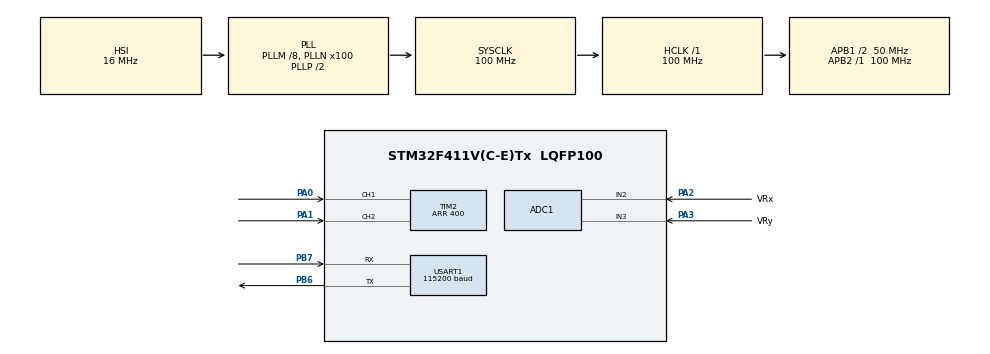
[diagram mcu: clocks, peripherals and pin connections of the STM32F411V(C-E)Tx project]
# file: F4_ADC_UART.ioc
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ADC1.Channel-0\#ChannelRegularConversion=ADC_CHANNEL_2
ADC1.Channel-1\#ChannelRegularConversion=ADC_CHANNEL_3
ADC1.ClockPrescaler=ADC_CLOCK_SYNC_PCLK_DIV8
ADC1.ContinuousConvMode=ENABLE
ADC1.DMAContinuousRequests=ENABLE
ADC1.NbrOfConversion=2
ADC1.NbrOfConversionFlag=1
ADC1.Rank-0\#ChannelRegularConversion=1
ADC1.Rank-1\#ChannelRegularConversion=2
ADC1.SamplingTime-0\#ChannelRegularConversion=ADC_SAMPLETIME_480CYCLES
ADC1.SamplingTime-1\#ChannelRegularConversion=ADC_SAMPLETIME_480CYCLES
ADC1.ScanConvMode=ENABLE
ADC1.master=1
Dma.ADC1.0.Direction=DMA_PERIPH_TO_MEMORY
Dma.ADC1.0.FIFOMode=DMA_FIFOMODE_DISABLE
Dma.ADC1.0.Instance=DMA2_Stream0
Dma.ADC1.0.MemDataAlignment=DMA_MDATAALIGN_HALFWORD
Dma.ADC1.0.MemInc=DMA_MINC_ENABLE
Dma.ADC1.0.Mode=DMA_CIRCULAR
Dma.ADC1.0.PeriphDataAlignment=DMA_PDATAALIGN_HALFWORD
Dma.ADC1.0.PeriphInc=DMA_PINC_DISABLE
Dma.ADC1.0.Priority=DMA_PRIORITY_LOW
Dma.Request0=ADC1
Dma.Request1=USART1_RX
Dma.Request2=USART1_TX
Dma.USART1_RX.1.Direction=DMA_PERIPH_TO_MEMORY
Dma.USART1_RX.1.FIFOMode=DMA_FIFOMODE_DISABLE
Dma.USART1_RX.1.Instance=DMA2_Stream2
Dma.USART1_RX.1.MemDataAlignment=DMA_MDATAALIGN_BYTE
Dma.USART1_RX.1.MemInc=DMA_MINC_ENABLE
Dma.USART1_RX.1.Mode=DMA_NORMAL
Dma.USART1_RX.1.PeriphDataAlignment=DMA_PDATAALIGN_BYTE
Dma.USART1_RX.1.PeriphInc=DMA_PINC_DISABLE
Dma.USART1_RX.1.Priority=DMA_PRIORITY_LOW
Dma.USART1_TX.2.Direction=DMA_MEMORY_TO_PERIPH
Dma.USART1_TX.2.FIFOMode=DMA_FIFOMODE_DISABLE
Dma.USART1_TX.2.Instance=DMA2_Stream7
Dma.USART1_TX.2.MemDataAlignment=DMA_MDATAALIGN_BYTE
Dma.USART1_TX.2.MemInc=DMA_MINC_ENABLE
Dma.USART1_TX.2.Mode=DMA_NORMAL
Dma.USART1_TX.2.PeriphDataAlignment=DMA_PDATAALIGN_BYTE
Dma.USART1_TX.2.PeriphInc=DMA_PINC_DISABLE
Dma.USART1_TX.2.Priority=DMA_PRIORITY_LOW
Mcu.Family=STM32F4
Mcu.Name=STM32F411V(C-E)Tx
Mcu.Package=LQFP100
NVIC.DMA2_Stream0_IRQn=true\:0\:0\:false\:false\:true\:true
NVIC.DMA2_Stream2_IRQn=true\:0\:0\:false\:false\:true\:true
NVIC.DMA2_Stream7_IRQn=true\:0\:0\:false\:false\:true\:true
NVIC.PriorityGroup=NVIC_PRIORITYGROUP_4
NVIC.USART1_IRQn=true\:0\:0\:false\:false\:true\:true
PA0-WKUP.Signal=S_TIM2_CH1_ETR
PA1.Signal=S_TIM2_CH2
PA2.GPIO_Label=VRx
PA2.Signal=ADCx_IN2
PA3.GPIO_Label=VRy
PA3.Signal=ADCx_IN3
PB6.Mode=Asynchronous
PB6.Signal=USART1_TX
PB7.Mode=Asynchronous
PB7.Signal=USART1_RX
PH0\ -\ OSC_IN.Mode=HSE-External-Oscillator
PH0\ -\ OSC_IN.Signal=RCC_OSC_IN
PH1\ -\ OSC_OUT.Mode=HSE-External-Oscillator
PH1\ -\ OSC_OUT.Signal=RCC_OSC_OUT
ProjectManager.HeapSize=0x200
ProjectManager.StackSize=0x400
ProjectManager.TargetToolchain=SW4STM32
RCC.48MHZClocksFreq_Value=50000000
RCC.AHBFreq_Value=100000000
RCC.APB1CLKDivider=RCC_HCLK_DIV2
RCC.APB1Freq_Value=50000000
RCC.APB1TimFreq_Value=100000000
RCC.APB2Freq_Value=100000000
RCC.APB2TimFreq_Value=100000000
RCC.CortexFreq_Value=100000000
RCC.HCLKFreq_Value=100000000
RCC.HSE_VALUE=8000000
RCC.HSI_VALUE=16000000
RCC.LSE_VALUE=32768
RCC.PLLM=8
RCC.PLLN=100
RCC.SYSCLKFreq_VALUE=100000000
RCC.SYSCLKSource=RCC_SYSCLKSOURCE_PLLCLK
RCC.VCOOutputFreq_Value=200000000
SH.ADCx_IN2.0=ADC1_IN2,IN2
SH.ADCx_IN3.0=ADC1_IN3,IN3
SH.S_TIM2_CH1_ETR.0=TIM2_CH1,Encoder_Interface
SH.S_TIM2_CH2.0=TIM2_CH2,Encoder_Interface
TIM2.EncoderMode=TIM_ENCODERMODE_TI12
TIM2.IC1Filter=15
TIM2.IC2Filter=15
TIM2.Period=400
USART1.BaudRate=115200
USART1.VirtualMode=VM_ASYNC
VP_CRC_VS_CRC.Mode=CRC_Activate
board=F4_ADC_UART

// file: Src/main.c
/**
  ******************************************************************************
  * File Name          : main.c
  * Description        : Main program body
  ******************************************************************************
  ** This notice applies to any and all portions of this file
  * that are not between comment pairs USER CODE BEGIN and
  * USER CODE END. Other portions of this file, whether
  * inserted by the user or by software development tools
  * are owned by their respective copyright owners.
  *
  * COPYRIGHT(c) 2017 STMicroelectronics
  *
  * Redistribution and use in source and binary forms, with or without modification,
  * are permitted provided that the following conditions are met:
  *   1. Redistributions of source code must retain the above copyright notice,
  *      this list of conditions and the following disclaimer.
  *   2. Redistributions in binary form must reproduce the above copyright notice,
  *      this list of conditions and the following disclaimer in the documentation
  *      and/or other materials provided with the distribution.
  *   3. Neither the name of STMicroelectronics nor the names of its contributors
  *      may be used to endorse or promote products derived from this software
  *      without specific prior written permission.
  *
  * THIS SOFTWARE IS PROVIDED BY THE COPYRIGHT HOLDERS AND CONTRIBUTORS "AS IS"
  * AND ANY EXPRESS OR IMPLIED WARRANTIES, INCLUDING, BUT NOT LIMITED TO, THE
  * IMPLIED WARRANTIES OF MERCHANTABILITY AND FITNESS FOR A PARTICULAR PURPOSE ARE
  * DISCLAIMED. IN NO EVENT SHALL THE COPYRIGHT HOLDER OR CONTRIBUTORS BE LIABLE
  * FOR ANY DIRECT, INDIRECT, INCIDENTAL, SPECIAL, EXEMPLARY, OR CONSEQUENTIAL
  * DAMAGES (INCLUDING, BUT NOT LIMITED TO, PROCUREMENT OF SUBSTITUTE GOODS OR
  * SERVICES; LOSS OF USE, DATA, OR PROFITS; OR BUSINESS INTERRUPTION) HOWEVER
  * CAUSED AND ON ANY THEORY OF LIABILITY, WHETHER IN CONTRACT, STRICT LIABILITY,
  * OR TORT (INCLUDING NEGLIGENCE OR OTHERWISE) ARISING IN ANY WAY OUT OF THE USE
  * OF THIS SOFTWARE, EVEN IF ADVISED OF THE POSSIBILITY OF SUCH DAMAGE.
  *
  ******************************************************************************
  */
#include "main.h"
#include "stm32f4xx_hal.h"

/* USER CODE BEGIN Includes */
#include <string.h>
/* USER CODE END Includes */

ADC_HandleTypeDef hadc1;
DMA_HandleTypeDef hdma_adc1;

CRC_HandleTypeDef hcrc;

TIM_HandleTypeDef htim2;

UART_HandleTypeDef huart1;
DMA_HandleTypeDef hdma_usart1_rx;
DMA_HandleTypeDef hdma_usart1_tx;

/* USER CODE BEGIN PV */
/* Private variables ---------------------------------------------------------*/
uint16_t joystick[2];
volatile int16_t pulse_count;
uint8_t rx_data, tx_data[30];

uint32_t a32;
uint16_t a16;
uint8_t a8;
/* USER CODE END PV */

void SystemClock_Config(void);
static void MX_GPIO_Init(void);
static void MX_DMA_Init(void);
static void MX_ADC1_Init(void);
static void MX_USART1_UART_Init(void);
static void MX_TIM2_Init(void);
static void MX_CRC_Init(void);

/* USER CODE BEGIN PFP */
/* Private function prototypes -----------------------------------------------*/
void HAL_UART_RxCpltCallback(UART_HandleTypeDef *huart) {
	if (rx_data == '#') {
		pulse_count = TIM2->CNT/2;
		tx_data[0] = (uint8_t)(joystick[0]);
		tx_data[1] = (uint8_t)(joystick[0]>>8);
		tx_data[2] = (uint8_t)(joystick[1]);
		tx_data[3] = (uint8_t)(joystick[1]>>8);
		tx_data[4] = (uint8_t)(pulse_count);
		tx_data[5] = (uint8_t)(pulse_count>>8);
		HAL_UART_Transmit_DMA(&huart1, tx_data, 6);
	}
	HAL_UART_Receive_DMA(&huart1, &rx_data, 1);
}
/* USER CODE END PFP */

int main(void)
{

  /* USER CODE BEGIN 1 */
//	uint8_t Received[10];

  /* USER CODE END 1 */

  /* MCU Configuration----------------------------------------------------------*/

  /* Reset of all peripherals, Initializes the Flash interface and the Systick. */
  HAL_Init();

  /* Configure the system clock */
  SystemClock_Config();

  /* Initialize all configured peripherals */
  MX_GPIO_Init();
  MX_DMA_Init();
  MX_ADC1_Init();
  MX_USART1_UART_Init();
  MX_TIM2_Init();
  MX_CRC_Init();

  /* USER CODE BEGIN 2 */
	HAL_ADC_Start_DMA(&hadc1, (uint32_t*) joystick, 2);
	HAL_TIM_Encoder_Start(&htim2, TIM_CHANNEL_ALL);
	HAL_UART_Receive_DMA(&huart1, &rx_data, 1);

	uint8_t tab[6] = {
					0x1a,
					0x2b,
					0x3c,
					0x4d,
					0x5e,
					0x6f,
					};

	a32 = HAL_CRC_Calculate(&hcrc, (uint32_t*)tab, 6);
	a16 = HAL_CRC_Calculate(&hcrc, (uint32_t*)tab, 6);
	a8 = HAL_CRC_Calculate(&hcrc, (uint32_t*)tab, 6);

  /* USER CODE END 2 */

  /* Infinite loop */
  /* USER CODE BEGIN WHILE */
	while (1) {
//		sprintf((char*) tx_data, "%d %d %d\n", joystick[0], joystick[1], pulse_count);

//	  HAL_UART_Receive_DMA(&huart1, Received, 10);
//	  HAL_Delay(100);
  /* USER CODE END WHILE */

	}

}

/** System Clock Configuration
*/
void SystemClock_Config(void)
{

  RCC_OscInitTypeDef RCC_OscInitStruct;
  RCC_ClkInitTypeDef RCC_ClkInitStruct;

    /**Configure the main internal regulator output voltage
    */
  __HAL_RCC_PWR_CLK_ENABLE();

  __HAL_PWR_VOLTAGESCALING_CONFIG(PWR_REGULATOR_VOLTAGE_SCALE1);

    /**Initializes the CPU, AHB and APB busses clocks
    */
  RCC_OscInitStruct.OscillatorType = RCC_OSCILLATORTYPE_HSI;
  RCC_OscInitStruct.HSIState = RCC_HSI_ON;
  RCC_OscInitStruct.HSICalibrationValue = 16;
  RCC_OscInitStruct.PLL.PLLState = RCC_PLL_ON;
  RCC_OscInitStruct.PLL.PLLSource = RCC_PLLSOURCE_HSI;
  RCC_OscInitStruct.PLL.PLLM = 8;
  RCC_OscInitStruct.PLL.PLLN = 100;
  RCC_OscInitStruct.PLL.PLLP = RCC_PLLP_DIV2;
  RCC_OscInitStruct.PLL.PLLQ = 4;
  if (HAL_RCC_OscConfig(&RCC_OscInitStruct) != HAL_OK)
  {
    _Error_Handler(__FILE__, __LINE__);
  }

    /**Initializes the CPU, AHB and APB busses clocks
    */
  RCC_ClkInitStruct.ClockType = RCC_CLOCKTYPE_HCLK|RCC_CLOCKTYPE_SYSCLK
                              |RCC_CLOCKTYPE_PCLK1|RCC_CLOCKTYPE_PCLK2;
  RCC_ClkInitStruct.SYSCLKSource = RCC_SYSCLKSOURCE_PLLCLK;
  RCC_ClkInitStruct.AHBCLKDivider = RCC_SYSCLK_DIV1;
  RCC_ClkInitStruct.APB1CLKDivider = RCC_HCLK_DIV2;
  RCC_ClkInitStruct.APB2CLKDivider = RCC_HCLK_DIV1;

  if (HAL_RCC_ClockConfig(&RCC_ClkInitStruct, FLASH_LATENCY_3) != HAL_OK)
  {
    _Error_Handler(__FILE__, __LINE__);
  }

    /**Configure the Systick interrupt time
    */
  HAL_SYSTICK_Config(HAL_RCC_GetHCLKFreq()/1000);

    /**Configure the Systick
    */
  HAL_SYSTICK_CLKSourceConfig(SYSTICK_CLKSOURCE_HCLK);

  /* SysTick_IRQn interrupt configuration */
  HAL_NVIC_SetPriority(SysTick_IRQn, 0, 0);
}

/* ADC1 init function */
static void MX_ADC1_Init(void)
{

  ADC_ChannelConfTypeDef sConfig;

    /**Configure the global features of the ADC (Clock, Resolution, Data Alignment and number of conversion)
    */
  hadc1.Instance = ADC1;
  hadc1.Init.ClockPrescaler = ADC_CLOCK_SYNC_PCLK_DIV8;
  hadc1.Init.Resolution = ADC_RESOLUTION_12B;
  hadc1.Init.ScanConvMode = ENABLE;
  hadc1.Init.ContinuousConvMode = ENABLE;
  hadc1.Init.DiscontinuousConvMode = DISABLE;
  hadc1.Init.ExternalTrigConvEdge = ADC_EXTERNALTRIGCONVEDGE_NONE;
  hadc1.Init.ExternalTrigConv = ADC_SOFTWARE_START;
  hadc1.Init.DataAlign = ADC_DATAALIGN_RIGHT;
  hadc1.Init.NbrOfConversion = 2;
  hadc1.Init.DMAContinuousRequests = ENABLE;
  hadc1.Init.EOCSelection = ADC_EOC_SINGLE_CONV;
  if (HAL_ADC_Init(&hadc1) != HAL_OK)
  {
    _Error_Handler(__FILE__, __LINE__);
  }

    /**Configure for the selected ADC regular channel its corresponding rank in the sequencer and its sample time.
    */
  sConfig.Channel = ADC_CHANNEL_2;
  sConfig.Rank = 1;
  sConfig.SamplingTime = ADC_SAMPLETIME_480CYCLES;
  if (HAL_ADC_ConfigChannel(&hadc1, &sConfig) != HAL_OK)
  {
    _Error_Handler(__FILE__, __LINE__);
  }

    /**Configure for the selected ADC regular channel its corresponding rank in the sequencer and its sample time.
    */
  sConfig.Channel = ADC_CHANNEL_3;
  sConfig.Rank = 2;
  if (HAL_ADC_ConfigChannel(&hadc1, &sConfig) != HAL_OK)
  {
    _Error_Handler(__FILE__, __LINE__);
  }

}

/* CRC init function */
static void MX_CRC_Init(void)
{
  hcrc.Instance = CRC;
  if (HAL_CRC_Init(&hcrc) != HAL_OK)
  {
    _Error_Handler(__FILE__, __LINE__);
  }

}

/* TIM2 init function */
static void MX_TIM2_Init(void)
{

  TIM_Encoder_InitTypeDef sConfig;
  TIM_MasterConfigTypeDef sMasterConfig;

  htim2.Instance = TIM2;
  htim2.Init.Prescaler = 0;
  htim2.Init.CounterMode = TIM_COUNTERMODE_UP;
  htim2.Init.Period = 400;
  htim2.Init.ClockDivision = TIM_CLOCKDIVISION_DIV1;
  sConfig.EncoderMode = TIM_ENCODERMODE_TI12;
  sConfig.IC1Polarity = TIM_ICPOLARITY_RISING;
  sConfig.IC1Selection = TIM_ICSELECTION_DIRECTTI;
  sConfig.IC1Prescaler = TIM_ICPSC_DIV1;
  sConfig.IC1Filter = 15;
  sConfig.IC2Polarity = TIM_ICPOLARITY_RISING;
  sConfig.IC2Selection = TIM_ICSELECTION_DIRECTTI;
  sConfig.IC2Prescaler = TIM_ICPSC_DIV1;
  sConfig.IC2Filter = 15;
  if (HAL_TIM_Encoder_Init(&htim2, &sConfig) != HAL_OK)
  {
    _Error_Handler(__FILE__, __LINE__);
  }

  sMasterConfig.MasterOutputTrigger = TIM_TRGO_RESET;
  sMasterConfig.MasterSlaveMode = TIM_MASTERSLAVEMODE_DISABLE;
  if (HAL_TIMEx_MasterConfigSynchronization(&htim2, &sMasterConfig) != HAL_OK)
  {
    _Error_Handler(__FILE__, __LINE__);
  }

}

/* USART1 init function */
static void MX_USART1_UART_Init(void)
{

  huart1.Instance = USART1;
  huart1.Init.BaudRate = 115200;
  huart1.Init.WordLength = UART_WORDLENGTH_8B;
  huart1.Init.StopBits = UART_STOPBITS_1;
  huart1.Init.Parity = UART_PARITY_NONE;
  huart1.Init.Mode = UART_MODE_TX_RX;
  huart1.Init.HwFlowCtl = UART_HWCONTROL_NONE;
  huart1.Init.OverSampling = UART_OVERSAMPLING_16;
  if (HAL_UART_Init(&huart1) != HAL_OK)
  {
    _Error_Handler(__FILE__, __LINE__);
  }

}

static void MX_DMA_Init(void)
{
  /* DMA controller clock enable */
  __HAL_RCC_DMA2_CLK_ENABLE();

  /* DMA interrupt init */
  /* DMA2_Stream0_IRQn interrupt configuration */
  HAL_NVIC_SetPriority(DMA2_Stream0_IRQn, 0, 0);
  HAL_NVIC_EnableIRQ(DMA2_Stream0_IRQn);
  /* DMA2_Stream2_IRQn interrupt configuration */
  HAL_NVIC_SetPriority(DMA2_Stream2_IRQn, 0, 0);
  HAL_NVIC_EnableIRQ(DMA2_Stream2_IRQn);
  /* DMA2_Stream7_IRQn interrupt configuration */
  HAL_NVIC_SetPriority(DMA2_Stream7_IRQn, 0, 0);
  HAL_NVIC_EnableIRQ(DMA2_Stream7_IRQn);

}

/** Configure pins as
        * Analog
        * Input
        * Output
        * EVENT_OUT
        * EXTI
*/
static void MX_GPIO_Init(void)
{

  /* GPIO Ports Clock Enable */
  __HAL_RCC_GPIOH_CLK_ENABLE();
  __HAL_RCC_GPIOA_CLK_ENABLE();
  __HAL_RCC_GPIOB_CLK_ENABLE();

}

void _Error_Handler(char * file, int line)
{
	while (1) {
	}
}

/************************ (C) COPYRIGHT STMicroelectronics *****END OF FILE****/
